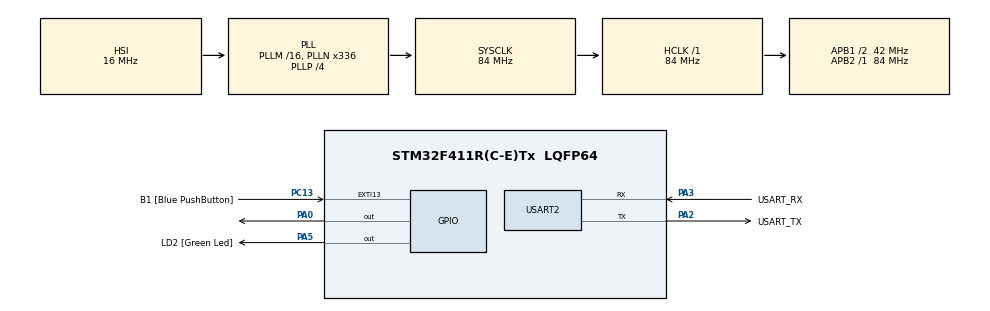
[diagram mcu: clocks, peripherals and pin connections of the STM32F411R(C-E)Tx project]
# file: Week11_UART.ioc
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Dma.Request0=USART2_RX
Dma.Request1=USART2_TX
Dma.USART2_RX.0.Direction=DMA_PERIPH_TO_MEMORY
Dma.USART2_RX.0.FIFOMode=DMA_FIFOMODE_DISABLE
Dma.USART2_RX.0.Instance=DMA1_Stream5
Dma.USART2_RX.0.MemDataAlignment=DMA_MDATAALIGN_BYTE
Dma.USART2_RX.0.MemInc=DMA_MINC_ENABLE
Dma.USART2_RX.0.Mode=DMA_CIRCULAR
Dma.USART2_RX.0.PeriphDataAlignment=DMA_PDATAALIGN_BYTE
Dma.USART2_RX.0.PeriphInc=DMA_PINC_DISABLE
Dma.USART2_RX.0.Priority=DMA_PRIORITY_LOW
Dma.USART2_TX.1.Direction=DMA_MEMORY_TO_PERIPH
Dma.USART2_TX.1.FIFOMode=DMA_FIFOMODE_DISABLE
Dma.USART2_TX.1.Instance=DMA1_Stream6
Dma.USART2_TX.1.MemDataAlignment=DMA_MDATAALIGN_BYTE
Dma.USART2_TX.1.MemInc=DMA_MINC_ENABLE
Dma.USART2_TX.1.Mode=DMA_NORMAL
Dma.USART2_TX.1.PeriphDataAlignment=DMA_PDATAALIGN_BYTE
Dma.USART2_TX.1.PeriphInc=DMA_PINC_DISABLE
Dma.USART2_TX.1.Priority=DMA_PRIORITY_LOW
Mcu.Family=STM32F4
Mcu.Name=STM32F411R(C-E)Tx
Mcu.Package=LQFP64
NVIC.DMA1_Stream5_IRQn=true\:0\:0\:false\:false\:true\:false\:true\:true
NVIC.DMA1_Stream6_IRQn=true\:0\:0\:false\:false\:true\:false\:true\:true
NVIC.PriorityGroup=NVIC_PRIORITYGROUP_0
NVIC.USART2_IRQn=true\:0\:0\:false\:false\:true\:true\:true\:true
PA0-WKUP.Signal=GPIO_Output
PA13.GPIO_Label=TMS
PA13.Mode=Serial_Wire
PA13.Signal=SYS_JTMS-SWDIO
PA14.GPIO_Label=TCK
PA14.Mode=Serial_Wire
PA14.Signal=SYS_JTCK-SWCLK
PA2.GPIO_Label=USART_TX
PA2.Mode=Asynchronous
PA2.Signal=USART2_TX
PA3.GPIO_Label=USART_RX
PA3.Mode=Asynchronous
PA3.Signal=USART2_RX
PA5.GPIO_Label=LD2 [Green Led]
PA5.Signal=GPIO_Output
PB3.GPIO_Label=SWO
PB3.Signal=SYS_JTDO-SWO
PC13-ANTI_TAMP.GPIO_Label=B1 [Blue PushButton]
PC13-ANTI_TAMP.GPIO_ModeDefaultEXTI=GPIO_MODE_IT_FALLING
PC13-ANTI_TAMP.Signal=GPXTI13
PC14-OSC32_IN.Mode=LSE-External-Oscillator
PC14-OSC32_IN.Signal=RCC_OSC32_IN
PC15-OSC32_OUT.Mode=LSE-External-Oscillator
PC15-OSC32_OUT.Signal=RCC_OSC32_OUT
PH0\ -\ OSC_IN.Mode=HSE-External-Clock-Source
PH0\ -\ OSC_IN.Signal=RCC_OSC_IN
PH1\ -\ OSC_OUT.Mode=HSE-External-Clock-Source
PH1\ -\ OSC_OUT.Signal=RCC_OSC_OUT
ProjectManager.HeapSize=0x200
ProjectManager.StackSize=0x400
ProjectManager.TargetToolchain=STM32CubeIDE
RCC.48MHZClocksFreq_Value=84000000
RCC.AHBFreq_Value=84000000
RCC.APB1CLKDivider=RCC_HCLK_DIV2
RCC.APB1Freq_Value=42000000
RCC.APB1TimFreq_Value=84000000
RCC.APB2Freq_Value=84000000
RCC.APB2TimFreq_Value=84000000
RCC.CortexFreq_Value=84000000
RCC.FLatency-AdvancedSettings=FLASH_LATENCY_2
RCC.HCLKFreq_Value=84000000
RCC.HSE_VALUE=8000000
RCC.HSI_VALUE=16000000
RCC.PLLN=336
RCC.PLLP=RCC_PLLP_DIV4
RCC.SYSCLKFreq_VALUE=84000000
RCC.SYSCLKSource=RCC_SYSCLKSOURCE_PLLCLK
RCC.VCOOutputFreq_Value=336000000
USART2.VirtualMode=VM_ASYNC
board=NUCLEO-F411RE

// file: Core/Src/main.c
/* USER CODE BEGIN Header */
/**
  ******************************************************************************
  * @file           : main.c
  * @brief          : Main program body
  ******************************************************************************
  * @attention
  *
  * Copyright (c) 2023 STMicroelectronics.
  * All rights reserved.
  *
  * This software is licensed under terms that can be found in the LICENSE file
  * in the root directory of this software component.
  * If no LICENSE file comes with this software, it is provided AS-IS.
  *
  ******************************************************************************
  */
/* USER CODE END Header */
#include "main.h"

/* USER CODE BEGIN Includes */
#include "stdio.h"
#include "string.h"
/* USER CODE END Includes */

UART_HandleTypeDef huart2;
DMA_HandleTypeDef hdma_usart2_rx;
DMA_HandleTypeDef hdma_usart2_tx;

/* USER CODE BEGIN PV */
uint8_t RxBuffer[20];
uint8_t TxBuffer[40];
/* USER CODE END PV */

void SystemClock_Config(void);
static void MX_GPIO_Init(void);
static void MX_DMA_Init(void);
static void MX_USART2_UART_Init(void);
/* USER CODE BEGIN PFP */
void UARTPollingMethod();
void DummyTask();
void UARTInterruptConfig();
/* USER CODE END PFP */

int main(void)
{

  /* MCU Configuration--------------------------------------------------------*/

  /* Reset of all peripherals, Initializes the Flash interface and the Systick. */
  HAL_Init();

  /* Configure the system clock */
  SystemClock_Config();

  /* Initialize all configured peripherals */
  MX_GPIO_Init();
  MX_DMA_Init();
  MX_USART2_UART_Init();
  /* USER CODE BEGIN 2 */
  uint8_t text[] = "HELLO FIBO";
  HAL_UART_Transmit(&huart2, text, 11, 10);

  UARTInterruptConfig();
  /* USER CODE END 2 */

  /* Infinite loop */
  while (1)
  {

    /* USER CODE BEGIN 3 */
//	  UARTPollingMethod();
	  DummyTask();
	  HAL_GPIO_TogglePin(GPIOA, GPIO_PIN_0);
  }
  /* USER CODE END 3 */
}

void SystemClock_Config(void)
{
  RCC_OscInitTypeDef RCC_OscInitStruct = {0};
  RCC_ClkInitTypeDef RCC_ClkInitStruct = {0};

  /** Configure the main internal regulator output voltage
  */
  __HAL_RCC_PWR_CLK_ENABLE();
  __HAL_PWR_VOLTAGESCALING_CONFIG(PWR_REGULATOR_VOLTAGE_SCALE1);

  /** Initializes the RCC Oscillators according to the specified parameters
  * in the RCC_OscInitTypeDef structure.
  */
  RCC_OscInitStruct.OscillatorType = RCC_OSCILLATORTYPE_HSI;
  RCC_OscInitStruct.HSIState = RCC_HSI_ON;
  RCC_OscInitStruct.HSICalibrationValue = RCC_HSICALIBRATION_DEFAULT;
  RCC_OscInitStruct.PLL.PLLState = RCC_PLL_ON;
  RCC_OscInitStruct.PLL.PLLSource = RCC_PLLSOURCE_HSI;
  RCC_OscInitStruct.PLL.PLLM = 16;
  RCC_OscInitStruct.PLL.PLLN = 336;
  RCC_OscInitStruct.PLL.PLLP = RCC_PLLP_DIV4;
  RCC_OscInitStruct.PLL.PLLQ = 4;
  if (HAL_RCC_OscConfig(&RCC_OscInitStruct) != HAL_OK)
  {
    Error_Handler();
  }

  /** Initializes the CPU, AHB and APB buses clocks
  */
  RCC_ClkInitStruct.ClockType = RCC_CLOCKTYPE_HCLK|RCC_CLOCKTYPE_SYSCLK
                              |RCC_CLOCKTYPE_PCLK1|RCC_CLOCKTYPE_PCLK2;
  RCC_ClkInitStruct.SYSCLKSource = RCC_SYSCLKSOURCE_PLLCLK;
  RCC_ClkInitStruct.AHBCLKDivider = RCC_SYSCLK_DIV1;
  RCC_ClkInitStruct.APB1CLKDivider = RCC_HCLK_DIV2;
  RCC_ClkInitStruct.APB2CLKDivider = RCC_HCLK_DIV1;

  if (HAL_RCC_ClockConfig(&RCC_ClkInitStruct, FLASH_LATENCY_2) != HAL_OK)
  {
    Error_Handler();
  }
}

static void MX_USART2_UART_Init(void)
{

  huart2.Instance = USART2;
  huart2.Init.BaudRate = 115200;
  huart2.Init.WordLength = UART_WORDLENGTH_8B;
  huart2.Init.StopBits = UART_STOPBITS_1;
  huart2.Init.Parity = UART_PARITY_NONE;
  huart2.Init.Mode = UART_MODE_TX_RX;
  huart2.Init.HwFlowCtl = UART_HWCONTROL_NONE;
  huart2.Init.OverSampling = UART_OVERSAMPLING_16;
  if (HAL_UART_Init(&huart2) != HAL_OK)
  {
    Error_Handler();
  }

}

static void MX_DMA_Init(void)
{

  /* DMA controller clock enable */
  __HAL_RCC_DMA1_CLK_ENABLE();

  /* DMA interrupt init */
  /* DMA1_Stream5_IRQn interrupt configuration */
  HAL_NVIC_SetPriority(DMA1_Stream5_IRQn, 0, 0);
  HAL_NVIC_EnableIRQ(DMA1_Stream5_IRQn);
  /* DMA1_Stream6_IRQn interrupt configuration */
  HAL_NVIC_SetPriority(DMA1_Stream6_IRQn, 0, 0);
  HAL_NVIC_EnableIRQ(DMA1_Stream6_IRQn);

}

static void MX_GPIO_Init(void)
{
  GPIO_InitTypeDef GPIO_InitStruct = {0};

  /* GPIO Ports Clock Enable */
  __HAL_RCC_GPIOC_CLK_ENABLE();
  __HAL_RCC_GPIOH_CLK_ENABLE();
  __HAL_RCC_GPIOA_CLK_ENABLE();
  __HAL_RCC_GPIOB_CLK_ENABLE();

  /*Configure GPIO pin Output Level */
  HAL_GPIO_WritePin(GPIOA, GPIO_PIN_0|LD2_Pin, GPIO_PIN_RESET);

  /*Configure GPIO pin : B1_Pin */
  GPIO_InitStruct.Pin = B1_Pin;
  GPIO_InitStruct.Mode = GPIO_MODE_IT_FALLING;
  GPIO_InitStruct.Pull = GPIO_NOPULL;
  HAL_GPIO_Init(B1_GPIO_Port, &GPIO_InitStruct);

  /*Configure GPIO pins : PA0 LD2_Pin */
  GPIO_InitStruct.Pin = GPIO_PIN_0|LD2_Pin;
  GPIO_InitStruct.Mode = GPIO_MODE_OUTPUT_PP;
  GPIO_InitStruct.Pull = GPIO_NOPULL;
  GPIO_InitStruct.Speed = GPIO_SPEED_FREQ_LOW;
  HAL_GPIO_Init(GPIOA, &GPIO_InitStruct);

}

/* USER CODE BEGIN 4 */
void UARTPollingMethod()
{
	//read UART 10 char with in 10s
	HAL_StatusTypeDef HAL_status = HAL_UART_Receive(&huart2, RxBuffer, 10, 10000);

	//if complete read 10 char
	if(HAL_status == HAL_OK)
	{
		//(for string only) Add string stop symbol \0 to end string
		RxBuffer[10] = '\0';

		//return received char
		sprintf((char*)TxBuffer,"Received : %s\r\n",RxBuffer);
		HAL_UART_Transmit(&huart2, TxBuffer, strlen((char*)TxBuffer), 10);
	}
	//Timeout : print only received char
	else if(HAL_status == HAL_TIMEOUT)
	{
		//(for string only) Add string stop symbol \0 to end string
		uint32_t lastCharPos = huart2.RxXferSize - huart2.RxXferCount;
		RxBuffer[lastCharPos] = '\0';

		//return received char
		sprintf((char*)TxBuffer,"Received Timeout : %s\r\n",RxBuffer);
		HAL_UART_Transmit(&huart2, TxBuffer, strlen((char*)TxBuffer), 10);
	}
}

//Blink LED 5 Hz
void DummyTask()
{
	static uint32_t timestamp=0;
	if(HAL_GetTick()>=timestamp)
	{
		timestamp = HAL_GetTick() +100;
		HAL_GPIO_TogglePin(LD2_GPIO_Port, LD2_Pin);
	}
}

void UARTInterruptConfig()
{
	//start UART in Interrupt Mode
//	HAL_UART_Receive_IT(&huart2, RxBuffer, 10);

	HAL_UART_Receive_DMA(&huart2, RxBuffer, 10);
}

void HAL_UART_RxCpltCallback(UART_HandleTypeDef *huart)
{
	if(huart == &huart2)
	{
		//(for string only) Add string stop symbol \0 to end string
		RxBuffer[10] = '\0';

		//return received char
		sprintf((char*)TxBuffer,"Received : %s\r\n",RxBuffer);
//		HAL_UART_Transmit_IT(&huart2, TxBuffer, strlen((char*)TxBuffer));
		HAL_UART_Transmit_DMA(&huart2, TxBuffer, strlen((char*)TxBuffer));

		//recall Receive
//		HAL_UART_Receive_IT(&huart2, RxBuffer, 10);
	}
}
/* USER CODE END 4 */

void Error_Handler(void)
{
  __disable_irq();
  while (1)
  {
  }
}
